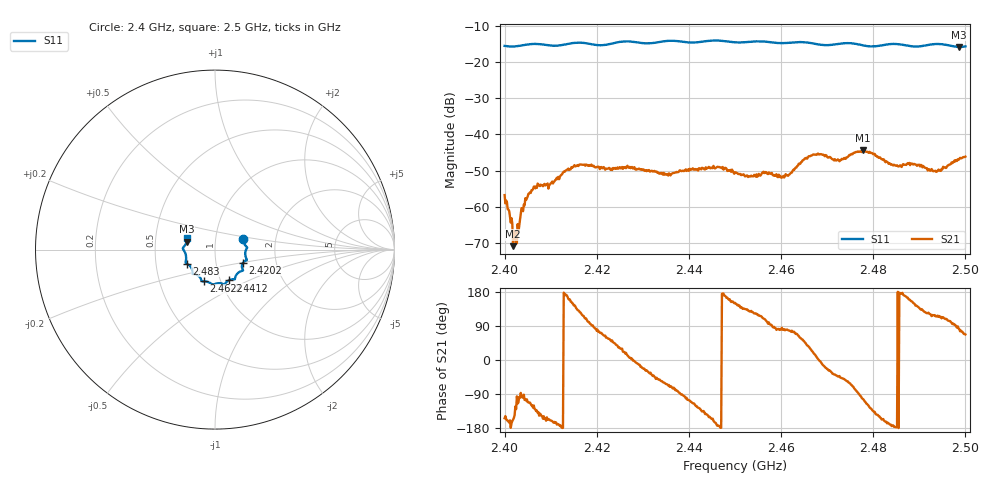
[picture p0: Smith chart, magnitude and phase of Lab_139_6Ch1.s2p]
# Hz S RI R 50
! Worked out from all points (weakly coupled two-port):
!   601 points, 2.4 GHz to 2.5 GHz, reference 50 ohm
!   highest |S21| = -44.42 dB at 2.4778 GHz (marker M1); lowest = -71.0 dB at 2.4018 GHz (marker M2)
!   lowest |S11| = -15.8 dB at 2.4987 GHz (marker M3), VSWR 1.39, Z = 36.3 + j3.29 ohm
!   |S11| at or under -10 dB: start of sweep to end of sweep
!   S12 and S22 are empty: the file has one direction only
!   S11 on the Smith chart (normalised r, x): 2.4 GHz: 1.36, +0.17; 2.4202 GHz: 1.35, -0.20; 2.4412 GHz: 1.09, -0.39; 2.4622 GHz: 0.83, -0.30; 2.483 GHz: 0.72, -0.12; 2.5 GHz: 0.73, +0.09
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2.4e9  0.1574 0.0603  -0.00129 -0.00064  0 0  0 0
2.401833e9  0.1607 0.039  -0.000261 -0.000108  0 0  0 0
2.402167e9  0.1619 0.0353  -0.000368 -0.000249  0 0  0 0
2.402667e9  0.1642 0.0306  -3.21e-05 -0.000313  0 0  0 0
2.404e9  0.1711 0.0204  -0.000141 -0.000852  0 0  0 0
2.406333e9  0.1791 0.0126  -0.000945 -0.00163  0 0  0 0
2.41e9  0.1705 -0.00774  -0.00197 -0.000725  0 0  0 0
2.416667e9  0.1771 -0.0588  -0.002 0.00326  0 0  0 0
2.420167e9  0.157 -0.0725  0.000622 0.00352  0 0  0 0
2.433333e9  0.1133 -0.1518  0.00189 -0.00229  0 0  0 0
2.441167e9  0.0758 -0.1717  -0.00139 -0.00294  0 0  0 0
2.45e9  0.0268 -0.1871  -0.0026 0.00145  0 0  0 0
2.460167e9  -0.0445 -0.1786  0.000211 0.00251  0 0  0 0
2.462167e9  -0.0626 -0.1768  0.000784 0.00284  0 0  0 0
2.466667e9  -0.0773 -0.1666  0.00467 0.00207  0 0  0 0
2.4725e9  -0.1172 -0.1363  0.00317 -0.00301  0 0  0 0
2.477833e9  -0.1267 -0.1152  -0.00138 -0.00585  0 0  0 0
2.483e9  -0.1585 -0.0781  -0.00406 -0.000925  0 0  0 0
2.483333e9  -0.16 -0.0773  -0.00381 -0.000872  0 0  0 0
2.4935e9  -0.1788 0.00522  -0.00134 0.00283  0 0  0 0
2.498667e9  -0.1569 0.0441  0.000623 0.00452  0 0  0 0
2.5e9  -0.1536 0.062  0.00189 0.00455  0 0  0 0
